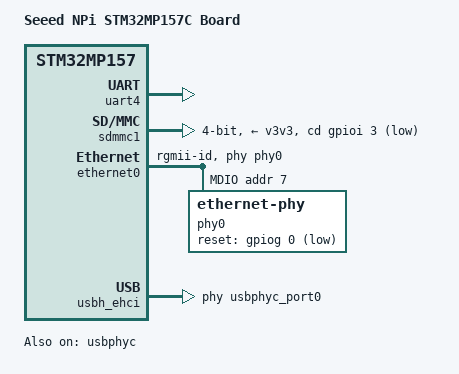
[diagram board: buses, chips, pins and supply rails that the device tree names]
// SPDX-License-Identifier: (GPL-2.0+ OR BSD-3-Clause)
/*
 * Copyright (C) STMicroelectronics 2019 - All Rights Reserved
 * Author: Alexandre Torgue <alexandre.torgue@st.com> for STMicroelectronics.
 */

/dts-v1/;

#include "stm32mp157c-odyssey-som.dtsi"

/ {
	model = "Seeed NPi STM32MP157C Board";
	compatible = "seeed,npi-stm32mp1", "st,stm32mp157";

	aliases {
		ethernet0 = &ethernet0;
		serial0 = &uart4;
		serial1 = &usart1;
		serial2 = &usart2;
		mmc0    = &sdmmc1;
		mmc1    = &sdmmc2;
		mmc2    = &sdmmc3;
		i2c0	= &i2c2;
		i2c1	= &i2c4;	/* RPi compatible */
		i2c2	= &i2c1;
	};

	chosen {
		stdout-path = "serial0:115200n8";
	};
};

&uart4 {
	pinctrl-names = "default", "sleep", "idle", "no_console_suspend";
	pinctrl-0 = <&uart4_pins_a>;
	pinctrl-1 = <&uart4_sleep_pins_a>;
	pinctrl-2 = <&uart4_idle_pins_a>;
	pinctrl-3 = <&uart4_pins_a>;
	status = "okay";
};

&sdmmc1 {
	pinctrl-names = "default", "opendrain", "sleep";
	pinctrl-0 = <&sdmmc1_b4_pins_a>;
	pinctrl-1 = <&sdmmc1_b4_od_pins_a>;
	pinctrl-2 = <&sdmmc1_b4_sleep_pins_a>;
	cd-gpios = <&gpioi 3 (GPIO_ACTIVE_LOW | GPIO_PULL_UP)>;
	disable-wp;
	st,neg-edge;
	bus-width = <4>;
	vmmc-supply = <&v3v3>;
	status = "okay";
};

&ethernet0 {
	status = "okay";
	pinctrl-0 = <&ethernet0_rgmii_pins_a>;
	pinctrl-1 = <&ethernet0_rgmii_sleep_pins_a>;
	pinctrl-names = "default", "sleep";
	assigned-clocks = <&rcc ETHCK_K>, <&rcc PLL4_P>;
	assigned-clock-parents = <&rcc PLL4_P>;
	assigned-clock-rates = <125000000>; /* Clock PLL4 to 750Mhz in ATF/U-Boot */
	phy-mode = "rgmii-id";
	max-speed = <1000>;
	phy-handle = <&phy0>;
	st,eth-clk-sel;

	mdio0 {
		#address-cells = <1>;
		#size-cells = <0>;
		compatible = "snps,dwmac-mdio";

		phy0: ethernet-phy@7 {
			reg = <7>;
			reset-gpios = <&gpiog 0 GPIO_ACTIVE_LOW>; /* ETH_RST# */
			reset-assert-us = <10000>;
			reset-deassert-us = <300>;
		};
	};
};

&usbh_ehci {
	phys = <&usbphyc_port0>, <&usbphyc_port1 1>;
	phy-names = "usb", "usb2";
	status = "okay";
};

&usbphyc {
	status = "okay";
};

&usbphyc_port0 {
	phy-supply = <&vdd_usb>;
	vdda1v1-supply = <&reg11>;
	vdda1v8-supply = <&reg18>;
};

&usbphyc_port1 {
	phy-supply = <&vdd_usb>;
	vdda1v1-supply = <&reg11>;
	vdda1v8-supply = <&reg18>;
};
